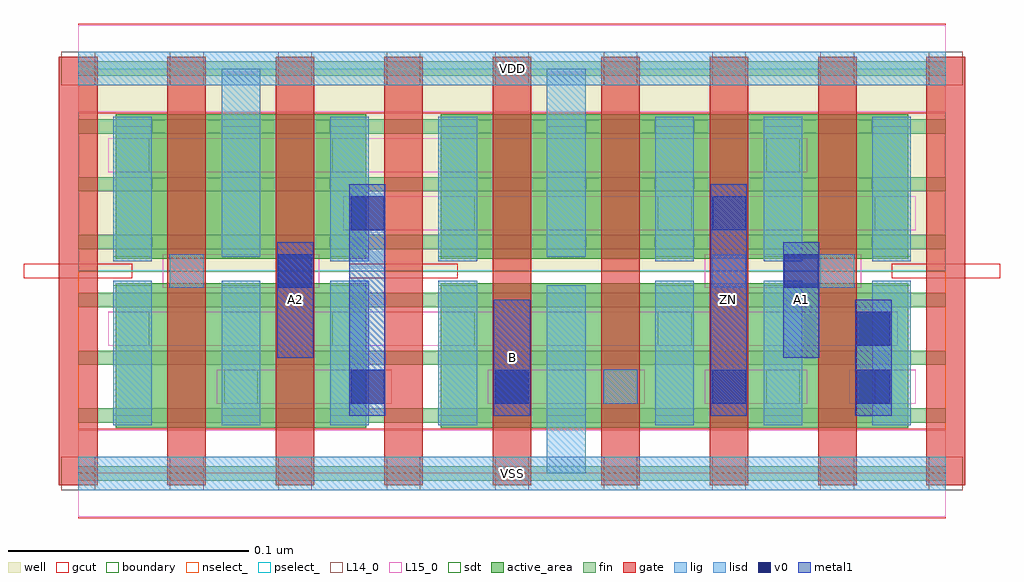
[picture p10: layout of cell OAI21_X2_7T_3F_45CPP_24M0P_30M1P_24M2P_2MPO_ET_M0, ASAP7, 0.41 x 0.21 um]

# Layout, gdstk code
import gdstk
lib = gdstk.Library(unit=1e-6, precision=2.5e-10)
def R(c, l, rs):  # rectangles x0, y0, x1, y1
    for r in rs: c.add(gdstk.rectangle(r[:2], r[2:], *l))
def A(c, l, x, y, w, h, nx, ny, dx, dy):  # array of equal rectangles
    R(c, l, [(x+i*dx, y+j*dy, x+i*dx+w, y+j*dy+h) for i in range(nx) for j in range(ny)])
well = (1, 0)
fin = (2, 0)
gate = (7, 0)
gcut = (10, 0)
active_area = (11, 0)
nselect_ = (12, 0)
pselect_ = (13, 0)
L14_0 = (14, 0)
L15_0 = (15, 0)
lig = (16, 0)
lisd = (17, 0)
v0 = (18, 0)
metal1 = (19, 0)
sdt = (88, 0)
boundary = (100, 0)

oai21_x2_7t_3f_45cpp_24m = lib.new_cell('OAI21_X2_7T_3F_45CPP_24M0P_30M1P_24M2P_2MPO_ET_M0')
R(oai21_x2_7t_3f_45cpp_24m, well, [(0,0.084,0.36,0.168)])
A(oai21_x2_7t_3f_45cpp_24m, fin, 0, -0.003, 0.36, 0.006, 1, 8, 0, 0.024)
A(oai21_x2_7t_3f_45cpp_24m, gate, -0.008, -0.005, 0.016, 0.178, 9, 1, 0.045, 0)
R(oai21_x2_7t_3f_45cpp_24m, gcut, [(0,-0.0185,0.36,0.0185), (-0.0225,0.081,0.0225,0.087), (0.1125,0.081,0.1575,0.087), (0.3375,0.081,0.3825,0.087), (0,0.1495,0.36,0.1865)])
R(oai21_x2_7t_3f_45cpp_24m, active_area, [(0.0155,0.019,0.1195,0.079), (0.1505,0.019,0.2545,0.079), (0.2405,0.019,0.3445,0.079), (0.0155,0.089,0.1195,0.149), (0.1505,0.089,0.2545,0.149), (0.2405,0.089,0.3445,0.149)])
R(oai21_x2_7t_3f_45cpp_24m, nselect_, [(0,0,0.36,0.084)])
R(oai21_x2_7t_3f_45cpp_24m, pselect_, [(0,0.084,0.36,0.168)])
A(oai21_x2_7t_3f_45cpp_24m, L14_0, -0.007, -0.007, 0.014, 0.014, 9, 2, 0.045, 0.168)
A(oai21_x2_7t_3f_45cpp_24m, L14_0, 0.1505, 0.101, 0.014, 0.014, 3, 1, 0.09, 0)
R(oai21_x2_7t_3f_45cpp_24m, L14_0, [(0.0605,0.029,0.0745,0.043), (0.173,0.029,0.187,0.043), (0.218,0.029,0.232,0.043), (0.2855,0.029,0.2995,0.043), (0.3305,0.029,0.3445,0.043), (0.0155,0.053,0.0295,0.067), (0.1055,0.053,0.1195,0.067), (0.1505,0.053,0.1645,0.067), (0.2405,0.053,0.2545,0.067), (0.038,0.077,0.052,0.091), (0.083,0.077,0.097,0.091), (0.263,0.077,0.277,0.091), (0.308,0.077,0.322,0.091), (0.0155,0.125,0.0295,0.139), (0.1055,0.125,0.1195,0.139), (0.2855,0.125,0.2995,0.139)])
R(oai21_x2_7t_3f_45cpp_24m, L15_0, [(0,-0.018,0.36,0.018), (0.0575,0.029,0.13,0.043), (0.17,0.029,0.235,0.043), (0.26,0.029,0.3025,0.043), (0.32,0.029,0.3475,0.043), (0.0125,0.053,0.34,0.067), (0.035,0.077,0.1,0.091), (0.26,0.077,0.325,0.091), (0.11,0.101,0.3475,0.115), (0.0125,0.125,0.3025,0.139), (0,0.15,0.36,0.186)])
R(oai21_x2_7t_3f_45cpp_24m, lig, [(0,-0.007,0.36,0.007), (0.173,0.029,0.187,0.043), (0.218,0.029,0.232,0.043), (0.038,0.077,0.052,0.091), (0.083,0.077,0.097,0.091), (0.263,0.077,0.277,0.091), (0.308,0.077,0.322,0.091), (0,0.161,0.36,0.175)])
A(oai21_x2_7t_3f_45cpp_24m, lisd, 0.0145, 0.02, 0.016, 0.06, 4, 1, 0.045, 0)
A(oai21_x2_7t_3f_45cpp_24m, lisd, 0.2395, 0.02, 0.016, 0.06, 3, 2, 0.045, 0.068)
R(oai21_x2_7t_3f_45cpp_24m, lisd, [(0.1945,0,0.2105,0.078), (0.0145,0.088,0.0305,0.148), (0.1045,0.088,0.1205,0.148), (0.1495,0.088,0.1655,0.148), (0.0595,0.09,0.0755,0.168), (0.1945,0.09,0.2105,0.168)])
R(oai21_x2_7t_3f_45cpp_24m, v0, [(0.113,0.029,0.127,0.043), (0.173,0.029,0.187,0.043), (0.263,0.029,0.277,0.043), (0.323,0.029,0.337,0.043), (0.323,0.053,0.337,0.067), (0.083,0.077,0.097,0.091), (0.293,0.077,0.307,0.091), (0.113,0.101,0.127,0.115), (0.263,0.101,0.277,0.115)])
R(oai21_x2_7t_3f_45cpp_24m, metal1, [(0.1125,0.024,0.1275,0.12), (0.1725,0.024,0.1875,0.072), (0.2625,0.024,0.2775,0.12), (0.3225,0.024,0.3375,0.072), (0.0825,0.048,0.0975,0.096), (0.2925,0.048,0.3075,0.096)])
A(oai21_x2_7t_3f_45cpp_24m, sdt, 0.0145, 0.024, 0.016, 0.054, 8, 2, 0.045, 0.066)
R(oai21_x2_7t_3f_45cpp_24m, boundary, [(0,0,0.36,0.168)])
oai21_x2_7t_3f_45cpp_24m.add(gdstk.Label('A2', (0.09,0.072), layer=19, texttype=251))
oai21_x2_7t_3f_45cpp_24m.add(gdstk.Label('A1', (0.3,0.072), layer=19, texttype=251))
oai21_x2_7t_3f_45cpp_24m.add(gdstk.Label('ZN', (0.27,0.072), layer=19, texttype=251))
oai21_x2_7t_3f_45cpp_24m.add(gdstk.Label('B', (0.18,0.048), layer=19, texttype=251))
oai21_x2_7t_3f_45cpp_24m.add(gdstk.Label('VDD', (0.18,0.168), layer=15, texttype=251))
oai21_x2_7t_3f_45cpp_24m.add(gdstk.Label('VSS', (0.18,0), layer=15, texttype=251))
oai21_x2_7t_3f_45cpp_24m.add(gdstk.Label('VDD', (0.18,0.168), layer=1, texttype=251))
oai21_x2_7t_3f_45cpp_24m.add(gdstk.Label('VSS', (0.18,0), layer=3, texttype=251))

lib.write_gds('OAI21_X2_7T_3F_45CPP_24M0P_30M1P_24M2P_2MPO_ET_M0.gds')
